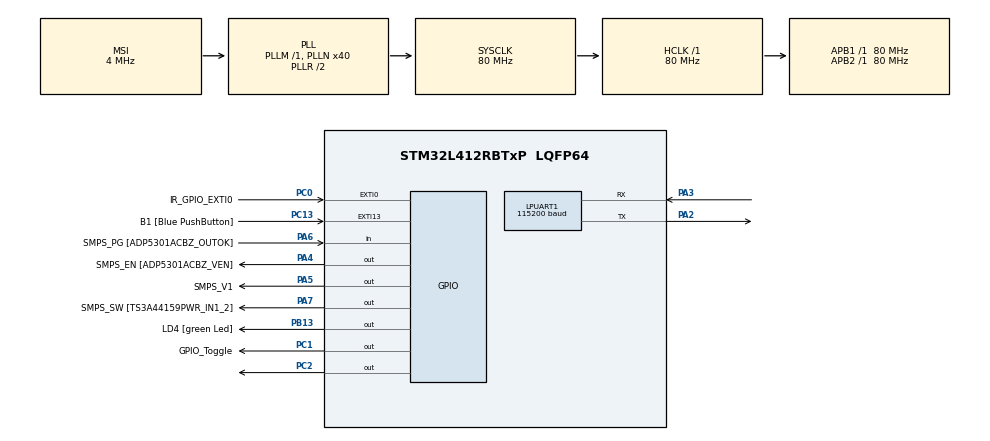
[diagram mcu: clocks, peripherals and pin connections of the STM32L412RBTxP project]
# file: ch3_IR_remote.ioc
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LPUART1.BaudRate=115200
LPUART1.WordLength=UART_WORDLENGTH_8B
Mcu.Family=STM32L4
Mcu.Name=STM32L412RBTxP
Mcu.Package=LQFP64
NVIC.EXTI0_IRQn=true\:5\:0\:true\:false\:true\:true\:true\:true
NVIC.PriorityGroup=NVIC_PRIORITYGROUP_4
PA13\ (JTMS/SWDIO).GPIO_Label=TMS
PA13\ (JTMS/SWDIO).Mode=Serial_Wire
PA13\ (JTMS/SWDIO).Signal=SYS_JTMS-SWDIO
PA14\ (JTCK/SWCLK).GPIO_Label=TCK
PA14\ (JTCK/SWCLK).Mode=Serial_Wire
PA14\ (JTCK/SWCLK).Signal=SYS_JTCK-SWCLK
PA2.Mode=Asynchronous
PA2.Signal=LPUART1_TX
PA3.Mode=Asynchronous
PA3.Signal=LPUART1_RX
PA4.GPIO_Label=SMPS_EN [ADP5301ACBZ_VEN]
PA4.Signal=GPIO_Output
PA5.GPIO_Label=SMPS_V1
PA5.GPIO_ModeDefaultOutputPP=GPIO_MODE_OUTPUT_PP
PA5.GPIO_PuPd=GPIO_NOPULL
PA5.GPIO_Speed=GPIO_SPEED_FREQ_LOW
PA5.Signal=GPIO_Output
PA6.GPIO_Label=SMPS_PG [ADP5301ACBZ_OUTOK]
PA6.GPIO_PuPd=GPIO_PULLUP
PA6.Signal=GPIO_Input
PA7.GPIO_Label=SMPS_SW [TS3A44159PWR_IN1_2]
PA7.Signal=GPIO_Output
PB13.GPIO_Label=LD4 [green Led]
PB13.Signal=GPIO_Output
PB3\ (JTDO/TRACESWO).GPIO_Label=SWO
PB3\ (JTDO/TRACESWO).Signal=SYS_JTDO-SWO
PC0.GPIO_Label=IR_GPIO_EXTI0
PC0.GPIO_ModeDefaultEXTI=GPIO_MODE_IT_FALLING
PC0.GPIO_PuPd=GPIO_PULLUP
PC0.Signal=GPXTI0
PC1.GPIO_Label=GPIO_Toggle
PC1.GPIO_ModeDefaultOutputPP=GPIO_MODE_OUTPUT_PP
PC1.GPIO_Speed=GPIO_SPEED_FREQ_VERY_HIGH
PC1.PinState=GPIO_PIN_RESET
PC1.Signal=GPIO_Output
PC13.GPIO_Label=B1 [Blue PushButton]
PC13.GPIO_ModeDefaultEXTI=GPIO_MODE_IT_FALLING
PC13.GPIO_PuPd=GPIO_NOPULL
PC13.Signal=GPXTI13
PC14-OSC32_IN\ (PC14).Mode=LSE-External-Oscillator
PC14-OSC32_IN\ (PC14).Signal=RCC_OSC32_IN
PC15-OSC32_OUT\ (PC15).Mode=LSE-External-Oscillator
PC15-OSC32_OUT\ (PC15).Signal=RCC_OSC32_OUT
PC2.PinState=GPIO_PIN_SET
PC2.Signal=GPIO_Output
PH0-OSC_IN\ (PH0).GPIO_Label=MCO
PH0-OSC_IN\ (PH0).Mode=HSE-External-Clock-Source
PH0-OSC_IN\ (PH0).Signal=RCC_OSC_IN
PH1-OSC_OUT\ (PH1).Signal=RCC_OSC_OUT
ProjectManager.HeapSize=0x200
ProjectManager.StackSize=0x400
ProjectManager.TargetToolchain=STM32CubeIDE
RCC.ADCFreq_Value=80000000
RCC.AHBFreq_Value=80000000
RCC.APB1Freq_Value=80000000
RCC.APB1TimFreq_Value=80000000
RCC.APB2Freq_Value=80000000
RCC.APB2TimFreq_Value=80000000
RCC.CortexFreq_Value=80000000
RCC.FLatency=FLASH_LATENCY_4
RCC.HCLKFreq_Value=80000000
RCC.HSE_VALUE=8000000
RCC.HSI48_VALUE=48000000
RCC.HSICalibrationValue=64
RCC.HSI_VALUE=16000000
RCC.MSIAutoCalibration=DISABLED
RCC.MSI_VALUE=4000000
RCC.PLLN=40
RCC.PREFETCH_ENABLE=1
RCC.SYSCLKFreq_VALUE=80000000
RCC.SYSCLKSource=RCC_SYSCLKSOURCE_PLLCLK
RCC.USBFreq_Value=4000000
RCC.VCOOutputFreq_Value=160000000
TIM2.Prescaler=79
VP_TIM2_VS_ClockSourceINT.Mode=Internal
board=NUCLEO-L412RB-P

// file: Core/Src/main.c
/* USER CODE BEGIN Header */
/**
 ******************************************************************************
 * @file           : main.c
 * @brief          : Main program body
 ******************************************************************************
 * @attention
 *
 * Copyright (c) 2026 STMicroelectronics.
 * All rights reserved.
 *
 * This software is licensed under terms that can be found in the LICENSE file
 * in the root directory of this software component.
 * If no LICENSE file comes with this software, it is provided AS-IS.
 *
 ******************************************************************************
 */
/* USER CODE END Header */
#include "main.h"

UART_HandleTypeDef hlpuart1;

TIM_HandleTypeDef htim2;

/* USER CODE BEGIN PV */
// add
//  인터럽트 어떻게 받아오는지 알고 사용하기
//  volatile -> 컴파일러의 최적화를 방지
//  인터럽트 콜백 담당하는 함수 (HAL_GPIO_EXTI_Callback)
volatile uint32_t ir_last_time      = 0;  // 직전 edge 발생
volatile uint32_t ir_current_time   = 0;  // 현재 edge 발생
volatile uint32_t ir_diff           = 0;  // 펄스폭 시간차 계산
volatile uint32_t packet_start_time = 0;  // Leader code 시작 시간 -> 변수 재확인 필요
// volatile uint32_t ir_flag = 0;         // ISR에서 1로 올라감. -> while로 와서 다른 동작 진행할 수 있도록

// 데이터 수신하기 위한 변수
volatile uint8_t ir_state      = 0;  // 0: 대기 상태 , 1: 데이터 수신 중 (010101 관련 수신)
volatile uint32_t ir_data_temp = 0;  // 임시 저장
volatile uint8_t ir_bit_count  = 0;  // 비트 개수

// main에서 실행용도
volatile uint32_t ir_received_code = 0;  // 완성된 코드 => data 코드 해석 필요
volatile uint8_t ir_flag           = 0;  // ISR에서 1로 올라감. -> while로 와서 다른 동작 진행할 수 있도록
volatile uint8_t ir_repeat_flag    = 0;  // [repeat 버전] ISR에서 1로 올라감. -> while로 와서 다른 동작 진행할 수 있도록

// 1 (High): Rising Edge 발생 (직전까지 Low였음) -> Low 구간 길이 측정됨
// 0 (Low): Falling Edge 발생 (직전까지 High였음) -> High 구간 길이 측정됨
volatile uint8_t ir_current_level          = 0;  // 현재 레벨 기준으로 이전 상태 판단
volatile uint8_t GPIO_Toggle_current_level = 0;  // 토글 핀 상태 읽기

// toggle 기준으로 정의
volatile uint32_t Toggle_last_time    = 0;  // 직전 edge 발생
volatile uint32_t Toggle_current_time = 0;  // 현재 edge 발생
volatile uint32_t Toggle_diff         = 0;  // 펄스폭 시간차 계산

// 2진수 출력함수
void print_bin32();
/* USER CODE END PV */

void SystemClock_Config(void);
static void MX_GPIO_Init(void);
static void MX_LPUART1_UART_Init(void);
static void MX_TIM2_Init(void);

/* USER CODE BEGIN 0 */
// add
#include <stdio.h>
#include <stm32l412xx.h>
#include <string.h>
#include <unistd.h>

// UART로 출력 보내기 위한 함수
int _write(int file, char* ptr, int len) {
    if (file == STDOUT_FILENO) {
        HAL_UART_Transmit(&hlpuart1, (uint8_t*)ptr, len, HAL_MAX_DELAY);
        return len;
    }
    return -1;
}
/* USER CODE END 0 */

int main(void) {

    /* MCU Configuration--------------------------------------------------------*/

    /* Reset of all peripherals, Initializes the Flash interface and the Systick. */
    HAL_Init();

    /* Configure the system clock */
    SystemClock_Config();

    /* Initialize all configured peripherals */
    MX_GPIO_Init();
    MX_LPUART1_UART_Init();
    MX_TIM2_Init();
    /* USER CODE BEGIN 2 */
    // unsigned test
    volatile uint16_t bit_16 = 0;
    volatile uint8_t bit_8   = 0;
    // add test
    bit_16    = 0xFF;
    bit_8     = 0xF0;

    uint8_t a = bit_16 - bit_8;
    uint8_t b = bit_8 - bit_16;
    printf("a = 0x%08x \r\n", a);
    printf("b = 0x%08x \r\n", b);

    uint16_t c = bit_16 - bit_8;
    uint16_t d = bit_8 - bit_16;
    printf("c = 0x%08x \r\n", c);
    printf("d = 0x%08x \r\n", d);

    // add, UART Test -
    printf("start IR Remote\r\n");
    HAL_Delay(200);

    // add TIMER
    // 타이머 2번 시작
    HAL_TIM_Base_Start(&htim2);
    printf("start IR Timer\r\n");

    /* USER CODE END 2 */

    /* Infinite loop */
    while (1) {

        /* USER CODE BEGIN 3 */
        // printf("Scan IR Remote\r\n");
        if (ir_flag == 1) {
            ir_flag = 0;  // flag 초기화

            // 32비트 코드 출력
            // printf("32bit code [1] %ld \r\n", ir_data_temp);
            print_bin32(ir_received_code);
            printf("32bit code [1] 0x%08lX \r\n", ir_received_code);
            uint8_t addr  = (ir_received_code >> 24) & 0xFF;
            uint8_t addr_ = (ir_received_code >> 16) & 0xFF;
            uint8_t data  = (ir_received_code >> 8) & 0xFF;
            uint8_t data_ = (ir_received_code >> 0) & 0xFF;

            printf("ADDR=%02X ADDR_=%02X DATA=%02X DATA_=%02X\r\n", addr, addr_, data, data_);
        }
        if (ir_repeat_flag == 1) {
            ir_repeat_flag = 0;

            printf("[Repeat pushed] \r\n");
        }
        // HAL_Delay(1000);
    }
    /* USER CODE END 3 */
}

void SystemClock_Config(void) {
    RCC_OscInitTypeDef RCC_OscInitStruct = {0};
    RCC_ClkInitTypeDef RCC_ClkInitStruct = {0};

    /** Configure the main internal regulator output voltage
     */
    if (HAL_PWREx_ControlVoltageScaling(PWR_REGULATOR_VOLTAGE_SCALE1) != HAL_OK) {
        Error_Handler();
    }

    /** Initializes the RCC Oscillators according to the specified parameters
     * in the RCC_OscInitTypeDef structure.
     */
    RCC_OscInitStruct.OscillatorType      = RCC_OSCILLATORTYPE_MSI;
    RCC_OscInitStruct.MSIState            = RCC_MSI_ON;
    RCC_OscInitStruct.MSICalibrationValue = 0;
    RCC_OscInitStruct.MSIClockRange       = RCC_MSIRANGE_6;
    RCC_OscInitStruct.PLL.PLLState        = RCC_PLL_ON;
    RCC_OscInitStruct.PLL.PLLSource       = RCC_PLLSOURCE_MSI;
    RCC_OscInitStruct.PLL.PLLM            = 1;
    RCC_OscInitStruct.PLL.PLLN            = 40;
    RCC_OscInitStruct.PLL.PLLQ            = RCC_PLLQ_DIV2;
    RCC_OscInitStruct.PLL.PLLR            = RCC_PLLR_DIV2;
    if (HAL_RCC_OscConfig(&RCC_OscInitStruct) != HAL_OK) {
        Error_Handler();
    }

    /** Initializes the CPU, AHB and APB buses clocks
     */
    RCC_ClkInitStruct.ClockType      = RCC_CLOCKTYPE_HCLK | RCC_CLOCKTYPE_SYSCLK | RCC_CLOCKTYPE_PCLK1 | RCC_CLOCKTYPE_PCLK2;
    RCC_ClkInitStruct.SYSCLKSource   = RCC_SYSCLKSOURCE_PLLCLK;
    RCC_ClkInitStruct.AHBCLKDivider  = RCC_SYSCLK_DIV1;
    RCC_ClkInitStruct.APB1CLKDivider = RCC_HCLK_DIV1;
    RCC_ClkInitStruct.APB2CLKDivider = RCC_HCLK_DIV1;

    if (HAL_RCC_ClockConfig(&RCC_ClkInitStruct, FLASH_LATENCY_4) != HAL_OK) {
        Error_Handler();
    }
}

static void MX_LPUART1_UART_Init(void) {

    hlpuart1.Instance                    = LPUART1;
    hlpuart1.Init.BaudRate               = 115200;
    hlpuart1.Init.WordLength             = UART_WORDLENGTH_8B;
    hlpuart1.Init.StopBits               = UART_STOPBITS_1;
    hlpuart1.Init.Parity                 = UART_PARITY_NONE;
    hlpuart1.Init.Mode                   = UART_MODE_TX_RX;
    hlpuart1.Init.HwFlowCtl              = UART_HWCONTROL_NONE;
    hlpuart1.Init.OneBitSampling         = UART_ONE_BIT_SAMPLE_DISABLE;
    hlpuart1.AdvancedInit.AdvFeatureInit = UART_ADVFEATURE_NO_INIT;
    if (HAL_UART_Init(&hlpuart1) != HAL_OK) {
        Error_Handler();
    }
}

static void MX_TIM2_Init(void) {

    TIM_ClockConfigTypeDef sClockSourceConfig = {0};
    TIM_MasterConfigTypeDef sMasterConfig     = {0};

    htim2.Instance               = TIM2;
    htim2.Init.Prescaler         = 79;
    htim2.Init.CounterMode       = TIM_COUNTERMODE_UP;
    htim2.Init.Period            = 4294967295;
    htim2.Init.ClockDivision     = TIM_CLOCKDIVISION_DIV1;
    htim2.Init.AutoReloadPreload = TIM_AUTORELOAD_PRELOAD_DISABLE;
    if (HAL_TIM_Base_Init(&htim2) != HAL_OK) {
        Error_Handler();
    }
    sClockSourceConfig.ClockSource = TIM_CLOCKSOURCE_INTERNAL;
    if (HAL_TIM_ConfigClockSource(&htim2, &sClockSourceConfig) != HAL_OK) {
        Error_Handler();
    }
    sMasterConfig.MasterOutputTrigger = TIM_TRGO_RESET;
    sMasterConfig.MasterSlaveMode     = TIM_MASTERSLAVEMODE_DISABLE;
    if (HAL_TIMEx_MasterConfigSynchronization(&htim2, &sMasterConfig) != HAL_OK) {
        Error_Handler();
    }
}

static void MX_GPIO_Init(void) {
    GPIO_InitTypeDef GPIO_InitStruct = {0};

    /* GPIO Ports Clock Enable */
    __HAL_RCC_GPIOC_CLK_ENABLE();
    __HAL_RCC_GPIOH_CLK_ENABLE();
    __HAL_RCC_GPIOA_CLK_ENABLE();
    __HAL_RCC_GPIOB_CLK_ENABLE();

    /*Configure GPIO pin Output Level */
    HAL_GPIO_WritePin(GPIO_Toggle_GPIO_Port, GPIO_Toggle_Pin, GPIO_PIN_RESET);

    /*Configure GPIO pin Output Level */
    HAL_GPIO_WritePin(GPIOC, GPIO_PIN_2, GPIO_PIN_SET);

    /*Configure GPIO pin Output Level */
    HAL_GPIO_WritePin(GPIOA, SMPS_EN_Pin | SMPS_V1_Pin | SMPS_SW_Pin, GPIO_PIN_RESET);

    /*Configure GPIO pin Output Level */
    HAL_GPIO_WritePin(LD4_GPIO_Port, LD4_Pin, GPIO_PIN_RESET);

    /*Configure GPIO pin : B1_Pin */
    GPIO_InitStruct.Pin  = B1_Pin;
    GPIO_InitStruct.Mode = GPIO_MODE_IT_FALLING;
    GPIO_InitStruct.Pull = GPIO_NOPULL;
    HAL_GPIO_Init(B1_GPIO_Port, &GPIO_InitStruct);

    /*Configure GPIO pin : IR_GPIO_EXTI0_Pin */
    GPIO_InitStruct.Pin  = IR_GPIO_EXTI0_Pin;
    GPIO_InitStruct.Mode = GPIO_MODE_IT_FALLING;
    GPIO_InitStruct.Pull = GPIO_PULLUP;
    HAL_GPIO_Init(IR_GPIO_EXTI0_GPIO_Port, &GPIO_InitStruct);

    /*Configure GPIO pin : GPIO_Toggle_Pin */
    GPIO_InitStruct.Pin   = GPIO_Toggle_Pin;
    GPIO_InitStruct.Mode  = GPIO_MODE_OUTPUT_PP;
    GPIO_InitStruct.Pull  = GPIO_NOPULL;
    GPIO_InitStruct.Speed = GPIO_SPEED_FREQ_VERY_HIGH;
    HAL_GPIO_Init(GPIO_Toggle_GPIO_Port, &GPIO_InitStruct);

    /*Configure GPIO pin : PC2 */
    GPIO_InitStruct.Pin   = GPIO_PIN_2;
    GPIO_InitStruct.Mode  = GPIO_MODE_OUTPUT_PP;
    GPIO_InitStruct.Pull  = GPIO_NOPULL;
    GPIO_InitStruct.Speed = GPIO_SPEED_FREQ_LOW;
    HAL_GPIO_Init(GPIOC, &GPIO_InitStruct);

    /*Configure GPIO pins : SMPS_EN_Pin SMPS_V1_Pin SMPS_SW_Pin */
    GPIO_InitStruct.Pin   = SMPS_EN_Pin | SMPS_V1_Pin | SMPS_SW_Pin;
    GPIO_InitStruct.Mode  = GPIO_MODE_OUTPUT_PP;
    GPIO_InitStruct.Pull  = GPIO_NOPULL;
    GPIO_InitStruct.Speed = GPIO_SPEED_FREQ_LOW;
    HAL_GPIO_Init(GPIOA, &GPIO_InitStruct);

    /*Configure GPIO pin : SMPS_PG_Pin */
    GPIO_InitStruct.Pin  = SMPS_PG_Pin;
    GPIO_InitStruct.Mode = GPIO_MODE_INPUT;
    GPIO_InitStruct.Pull = GPIO_PULLUP;
    HAL_GPIO_Init(SMPS_PG_GPIO_Port, &GPIO_InitStruct);

    /*Configure GPIO pin : LD4_Pin */
    GPIO_InitStruct.Pin   = LD4_Pin;
    GPIO_InitStruct.Mode  = GPIO_MODE_OUTPUT_PP;
    GPIO_InitStruct.Pull  = GPIO_NOPULL;
    GPIO_InitStruct.Speed = GPIO_SPEED_FREQ_LOW;
    HAL_GPIO_Init(LD4_GPIO_Port, &GPIO_InitStruct);

    /* EXTI interrupt init*/
    HAL_NVIC_SetPriority(EXTI0_IRQn, 5, 0);
    HAL_NVIC_EnableIRQ(EXTI0_IRQn);

}

/* USER CODE BEGIN 4 */
// add
void HAL_GPIO_EXTI_Callback(uint16_t GPIO_Pin) {
    // 연결 후 설정해둔 핀
    if (GPIO_Pin == IR_GPIO_EXTI0_Pin) {
        // fall , rise 읽기 위힘 -> 어디로? 변동 되었는지 확인 필수
        // (GPIOC -> IR_GPIO_EXTI0_GPIO_Port) 포트 이름도 설정해둔 포트 이름으로!
        // ir_current_level = HAL_GPIO_ReadPin(IR_GPIO_EXTI0_GPIO_Port, IR_GPIO_EXTI0_Pin);
        GPIO_Toggle_current_level = HAL_GPIO_ReadPin(GPIO_Toggle_GPIO_Port, GPIO_Toggle_Pin);  // 읽어야 할지는 확인 필요

        // ir_current_time = TIM2->CNT;
        // 시간 차 계산
        ir_diff      = TIM2->CNT - ir_last_time;
        ir_last_time = TIM2->CNT;

        if (ir_diff < 150) return;  // 150us 이하는 노이즈 컷

        // data 읽기
        //  NEC 코드 관련해서 어떻게 읽어올지!!
        if (ir_state == 1) {
            // data 0으로 들어오는 부분 판독 후, data 추가
            if ((ir_diff > 1100) && (ir_diff < 1200)) {
                // 빈자리 자동으로 0으로 채워짐 -> 32비트 데이터에 0 추가
                ir_data_temp = (ir_data_temp << 1);

                // 비트 개수 추가
                ir_bit_count++;
            }
            // data 1으로 들어오는 부분 판독 후, data 추가
            else if ((ir_diff > 2200) && (ir_diff < 2300)) {
                // 빈자리 자동으로 0으로 채워짐 -> 32비트 데이터에 1 추가
                ir_data_temp = (ir_data_temp << 1) | 1;

                // 비트 개수 추가
                ir_bit_count++;
            } else {
                // 신호 잘못 들어온 부분 -> 가지고 있는 데이터 전부 초기화
                ir_state     = 0;
                ir_bit_count = 0;
                ir_data_temp = 0;

                return;
            }
        }
        // leader code 및 repeat code 검출용
        if (ir_diff > 10000) {
            ir_state     = 0;
            ir_bit_count = 0;
            ir_data_temp = 0;
            HAL_GPIO_WritePin(GPIO_Toggle_GPIO_Port, GPIO_Toggle_Pin, GPIO_PIN_RESET);

            if ((ir_diff > 13000) && (ir_diff < 14000)) {
                ir_state = 1;
                HAL_GPIO_WritePin(GPIO_Toggle_GPIO_Port, GPIO_Toggle_Pin, GPIO_PIN_SET);
            } else if ((ir_diff > 11000) && (ir_diff < 12000)) {
                // repeat 출력 위함
                ir_repeat_flag = 1;
                HAL_GPIO_TogglePin(GPIO_Toggle_GPIO_Port, GPIO_Toggle_Pin);
            } else {
                return;  // 다른 값들 의미 없음
            }
        }
        // NEC 프로토콜 32개를 전부 모았는지?
        if (ir_bit_count >= 32) {
            // 임시데이터 => 완성 데이터
            // 꼭 필요한 과정인지....?
            ir_received_code = ir_data_temp;

            // while 문 내부 실행하도록 flag
            ir_flag = 1;

            // 0번 state 복귀
            ir_state = 0;

            HAL_GPIO_WritePin(GPIO_Toggle_GPIO_Port, GPIO_Toggle_Pin, GPIO_PIN_RESET);
        }
    }
}

void print_bin32(uint32_t v) {
    for (int i = 31; i >= 0; i--) {
        printf("%ld", (v >> i) & 1);
        if (i % 8 == 0) printf(" ");
    }
    printf("\r\n");
}

/* USER CODE END 4 */

void Error_Handler(void) {
    __disable_irq();
    while (1) {
    }
}
